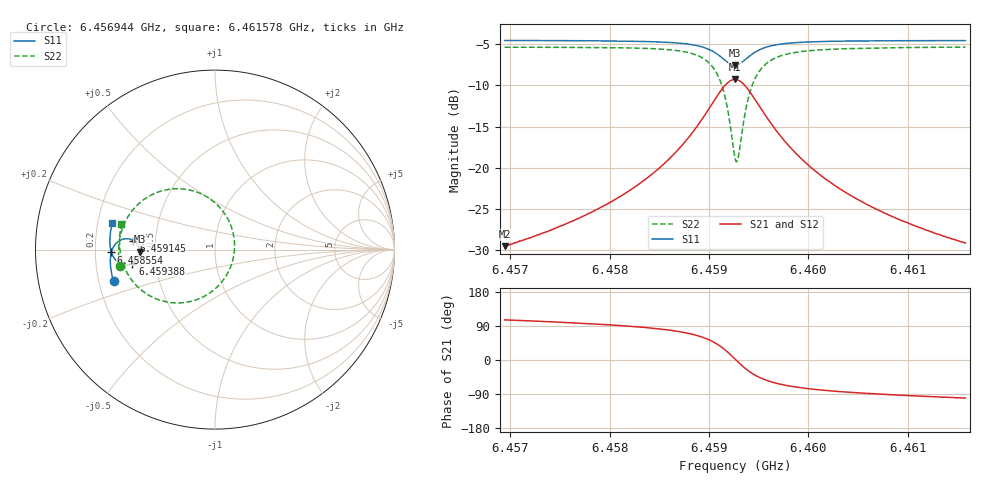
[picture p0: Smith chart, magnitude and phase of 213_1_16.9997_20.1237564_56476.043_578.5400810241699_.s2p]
#  HZ  S  RI  R  50.00
! Rohde & Schwarz Vector Network Analyzer
! Rohde-Schwarz,ZNB20-2Port,1311601062101988,3.16
! Created: UTC 3/20/2024, 11:01:38 PM
! freq[Hz]  re:S11  im:S11  re:S21  im:S21  re:S12  im:S12  re:S22  im:S22
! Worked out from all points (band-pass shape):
!   401 points, 6.456944 GHz to 6.461578 GHz, reference 50 ohm
!   highest |S21| = -9.27 dB at 6.459261 GHz (marker M1); lowest = -29.5 dB at 6.456944 GHz (marker M2)
!   |S21| within 3 dB of the highest: 6.459029 GHz to 6.459492 GHz (462.7 kHz wide, 0.00716 % of centre)
!   lowest |S11| = -7.6 dB at 6.459261 GHz (marker M3), VSWR 2.44, Z = 20.5 - j0.618 ohm
!   |S11| at or under -10 dB: nowhere
!   |S22| runs from -19.3 to -5.4 dB; largest |S21 - S12| = 0.013
!   S11 on the Smith chart (normalised r, x): 6.456944 GHz: 0.26, -0.14; 6.458554 GHz: 0.27, -0.01; 6.459145 GHz: 0.37, +0.05; 6.459388 GHz: 0.37, -0.07; 6.461578 GHz: 0.26, +0.12
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6.4569441e9  -0.5654 -0.1758  -0.00916 0.0322  -0.00738 0.0323  -0.5309 -0.091
6.4577203e9  -0.58 -0.1083  -0.00607 0.0501  -0.00347 0.0495  -0.5374 -0.000528
6.4581373e9  -0.5832 -0.0666  -0.000444 0.0688  0.00288 0.0676  -0.5304 0.0648
6.4584964e9  -0.5797 -0.024  0.0134 0.0983  0.0174 0.0957  -0.5052 0.1448
6.4585543e9  -0.5778 -0.0161  0.0176 0.1051  0.0219 0.1021  -0.4971 0.1615
6.4587629e9  -0.5651 0.0161  0.0449 0.1376  0.049 0.1328  -0.4463 0.2345
6.4589135e9  -0.5426 0.0426  0.0898 0.1683  0.093 0.1617  -0.3638 0.2994
6.4590525e9  -0.499 0.0604  0.1767 0.1854  0.1777 0.1779  -0.2053 0.3391
6.4591452e9  -0.4545 0.0504  0.2664 0.1546  0.2668 0.1487  -0.039 0.2901
6.4591915e9  -0.4334 0.0316  0.3101 0.1119  0.3115 0.1067  0.0437 0.214
6.459261e9  -0.4185 -0.0124  0.3436 0.0154  0.3472 0.0086  0.109 0.0349
6.4592726e9  -0.419 -0.0204  0.3434 -0.00233  0.3472 -0.00991  0.1088 0.00146
6.4592958e9  -0.4225 -0.036  0.3378 -0.0369  0.3418 -0.0459  0.0979 -0.0639
6.4593421e9  -0.438 -0.0619  0.3097 -0.0966  0.3117 -0.1084  0.0407 -0.1766
6.4593884e9  -0.46 -0.078  0.2679 -0.1376  0.2671 -0.1506  -0.0437 -0.2512
6.4594811e9  -0.5032 -0.0848  0.1836 -0.1686  0.1776 -0.18  -0.211 -0.2973
6.4596317e9  -0.5468 -0.0645  0.0963 -0.1552  0.088 -0.1613  -0.3778 -0.2489
6.4597939e9  -0.5683 -0.0367  0.0516 -0.1276  0.0442 -0.1303  -0.458 -0.1775
6.4600372e9  -0.5811 -0.00132  0.0227 -0.0965  0.0168 -0.097  -0.5061 -0.0957
6.4603615e9  -0.5855 0.0373  0.00724 -0.0712  0.00309 -0.0708  -0.527 -0.0212
6.4608133e9  -0.5838 0.0828  -0.00137 -0.0515  -0.00407 -0.0507  -0.5322 0.0513
6.4615779e9  -0.5717 0.1505  -0.00633 -0.0343  -0.00808 -0.0334  -0.5212 0.1414
